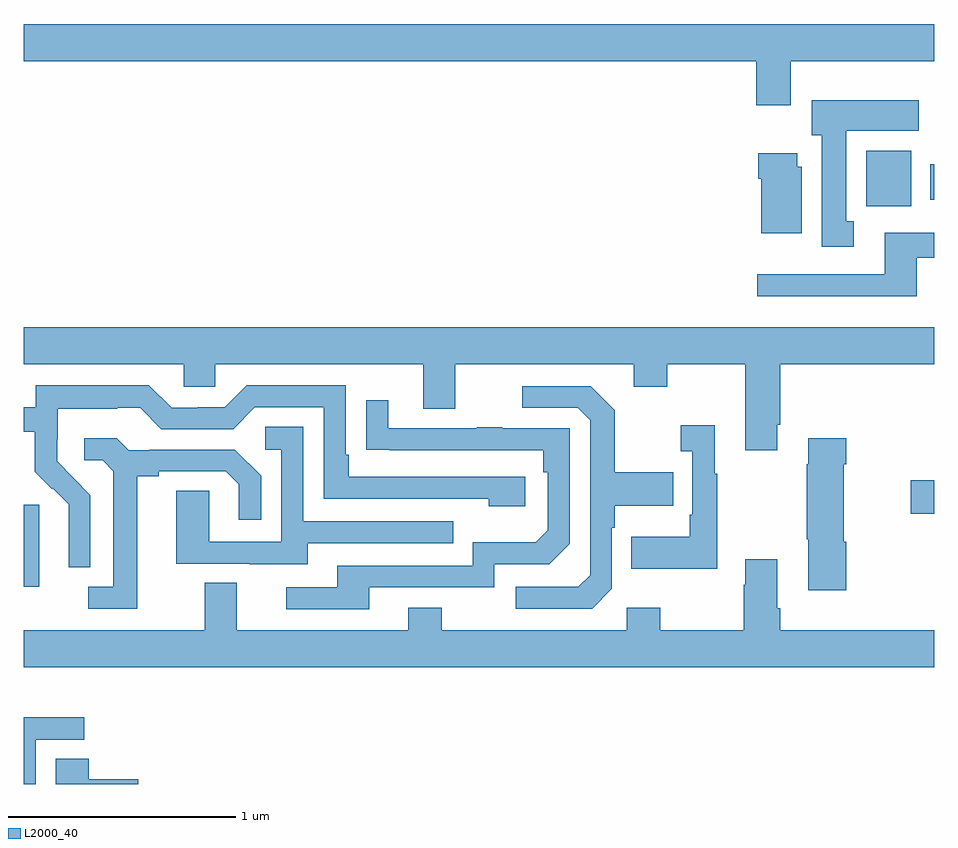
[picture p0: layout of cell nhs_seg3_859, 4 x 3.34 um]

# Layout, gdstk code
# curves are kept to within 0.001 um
import gdstk
lib = gdstk.Library(unit=1e-6, precision=1e-09)
def R(c, l, rs):  # rectangles x0, y0, x1, y1
    for r in rs: c.add(gdstk.rectangle(r[:2], r[2:], *l))
def P(c, l, *ps):  # polygons
    for p in ps: c.add(gdstk.Polygon(p, *l))
L2000_40 = (2000, 40)

nhs_seg3_859 = lib.new_cell('nhs_seg3_859')
R(nhs_seg3_859, L2000_40, [(155,705.266,155.068,705.627), (158.898,705.587,159,705.734), (158.702,706.94,158.899,707.182), (158.984,706.968,159,707.124)])
P(nhs_seg3_859, L2000_40, [(158.371,707.576),(159,707.576),(159,707.74),(155,707.74),(155,707.576),(158.219,707.576),(158.219,707.382),(158.371,707.382)],
  [(158.647,706.874),(158.614,706.874),(158.614,707.27),(158.932,707.27),(158.932,707.404),(158.462,707.404),(158.462,707.25),(158.507,707.25),(158.507,706.761),(158.647,706.761)],
  [(158.419,707.112),(158.398,707.112),(158.398,707.173),(158.228,707.173),(158.228,707.06),(158.24,707.06),(158.24,706.82),(158.419,706.82)],
  [(158.923,706.713),(159,706.713),(159,706.822),(158.783,706.822),(158.783,706.641),(158.223,706.641),(158.223,706.544),(158.923,706.544)],
  [(158.311,705.979),(158.324,705.979),(158.324,706.244),(159,706.244),(159,706.408),(155,706.408),(155,706.244),(155.703,706.244),(155.703,706.146),(155.841,706.146),(155.841,706.244),(156.755,706.244),(156.755,706.05),(156.895,706.05),(156.895,706.244),(157.679,706.244),(157.679,706.145),(157.827,706.145),(157.827,706.244),(158.171,706.244),(158.171,705.867),(158.311,705.867)],
  [(155.292,705.67),(155.146,705.818),(155.146,705.915),(155.148,705.915),(155.148,706.049),(155.411,706.049),(155.411,706.053),(155.511,706.053),(155.604,705.96),(155.919,705.96),(156.015,706.056),(156.318,706.056),(156.318,705.654),(157.043,705.654),(157.043,705.62),(157.204,705.62),(157.204,705.75),(156.427,705.75),(156.427,705.847),(156.414,705.847),(156.414,706.152),(155.979,706.152),(155.883,706.056),(155.765,706.056),(155.765,706.053),(155.649,706.053),(155.549,706.153),(155.052,706.153),(155.052,706.056),(155,706.056),(155,705.948),(155.047,705.948),(155.047,705.773),(155.124,705.696),(155.127,705.699),(155.198,705.629),(155.198,705.506),(155.196,705.506),(155.196,705.352),(155.292,705.352)],
  [(157.584,705.258),(157.584,705.527),(157.597,705.527),(157.597,705.623),(157.853,705.623),(157.853,705.771),(157.597,705.771),(157.597,706.043),(157.491,706.149),(157.191,706.149),(157.191,706.053),(157.434,706.053),(157.488,705.999),(157.488,705.318),(157.437,705.267),(157.161,705.267),(157.161,705.171),(157.497,705.171)],
  [(156.517,705.264),(157.068,705.264),(157.068,705.366),(157.308,705.366),(157.398,705.456),(157.398,705.963),(157.103,705.963),(157.103,705.968),(156.991,705.968),(156.991,705.963),(156.601,705.963),(156.601,706.087),(156.505,706.087),(156.505,705.868),(157.282,705.867),(157.282,705.77),(157.302,705.77),(157.302,705.516),(157.249,705.463),(156.972,705.463),(156.972,705.36),(156.377,705.36),(156.377,705.264),(156.153,705.264),(156.153,705.168),(156.517,705.168)],
  [(158.047,705.763),(158.035,705.763),(158.035,705.976),(157.887,705.976),(157.887,705.863),(157.938,705.863),(157.938,705.583),(157.926,705.583),(157.926,705.487),(157.669,705.487),(157.669,705.347),(158.047,705.347)],
  [(156.247,705.459),(156.887,705.459),(156.887,705.555),(156.228,705.555),(156.228,705.971),(156.06,705.971),(156.06,705.87),(156.132,705.87),(156.132,705.465),(155.814,705.465),(155.814,705.689),(155.669,705.689),(155.669,705.369),(155.993,705.369),(155.993,705.365),(156.247,705.365)],
  [(155.497,705.752),(155.593,705.752),(155.593,705.774),(155.888,705.774),(155.945,705.717),(155.945,705.561),(156.042,705.561),(156.042,705.754),(155.926,705.87),(155.554,705.87),(155.554,705.867),(155.46,705.867),(155.408,705.919),(155.265,705.919),(155.265,705.822),(155.346,705.822),(155.393,705.775),(155.393,705.267),(155.283,705.267),(155.283,705.171),(155.497,705.171)],
  [(158.615,705.464),(158.602,705.464),(158.602,705.806),(158.615,705.806),(158.615,705.919),(158.447,705.919),(158.447,705.806),(158.44,705.806),(158.44,705.475),(158.447,705.475),(158.447,705.252),(158.615,705.252)],
  [(159,705.076),(158.324,705.076),(158.324,705.172),(158.311,705.172),(158.311,705.388),(158.171,705.388),(158.171,705.275),(158.164,705.275),(158.164,705.076),(157.797,705.076),(157.797,705.175),(157.65,705.175),(157.65,705.076),(156.837,705.076),(156.837,705.175),(156.689,705.175),(156.689,705.076),(155.935,705.076),(155.935,705.284),(155.795,705.284),(155.795,705.076),(155,705.076),(155,704.912),(159,704.912)],
  [(155.052,704.595),(155.266,704.595),(155.266,704.694),(155,704.694),(155,704.4),(155.052,704.4)],
  [(155.503,704.42),(155.285,704.42),(155.285,704.51),(155.141,704.51),(155.141,704.4),(155.503,704.4)])

lib.write_gds('nhs_seg3_859.gds')
